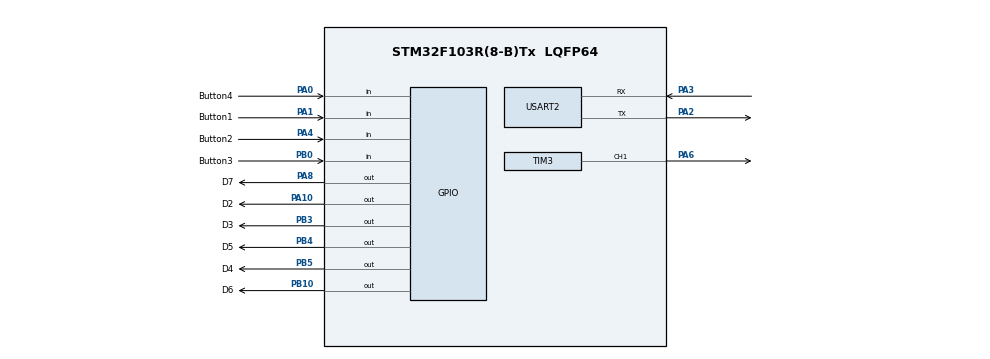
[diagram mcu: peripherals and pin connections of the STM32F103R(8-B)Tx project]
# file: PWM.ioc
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Mcu.Family=STM32F1
Mcu.Name=STM32F103R(8-B)Tx
Mcu.Package=LQFP64
NVIC.PriorityGroup=NVIC_PRIORITYGROUP_4
NVIC.TIM2_IRQn=true\:0\:0\:false\:false\:true\:true\:true\:true
NVIC.TIM3_IRQn=true\:0\:0\:false\:false\:true\:true\:true\:true
NVIC.USART2_IRQn=true\:0\:0\:false\:false\:true\:true\:true\:true
PA0-WKUP.GPIO_Label=Button4
PA0-WKUP.GPIO_PuPd=GPIO_PULLUP
PA0-WKUP.Signal=GPIO_Input
PA1.GPIO_Label=Button1
PA1.GPIO_PuPd=GPIO_PULLUP
PA1.Signal=GPIO_Input
PA10.GPIO_Label=D2
PA10.Signal=GPIO_Output
PA13.Mode=Serial_Wire
PA13.Signal=SYS_JTMS-SWDIO
PA14.Mode=Serial_Wire
PA14.Signal=SYS_JTCK-SWCLK
PA2.Mode=Asynchronous
PA2.Signal=USART2_TX
PA3.Mode=Asynchronous
PA3.Signal=USART2_RX
PA4.GPIO_Label=Button2
PA4.GPIO_PuPd=GPIO_PULLUP
PA4.Signal=GPIO_Input
PA6.Signal=S_TIM3_CH1
PA8.GPIO_Label=D7
PA8.Signal=GPIO_Output
PB0.GPIO_Label=Button3
PB0.GPIO_PuPd=GPIO_PULLUP
PB0.Signal=GPIO_Input
PB10.GPIO_Label=D6
PB10.Signal=GPIO_Output
PB3.GPIO_Label=D3
PB3.Signal=GPIO_Output
PB4.GPIO_Label=D5
PB4.Signal=GPIO_Output
PB5.GPIO_Label=D4
PB5.Signal=GPIO_Output
ProjectManager.HeapSize=0x200
ProjectManager.StackSize=0x400
ProjectManager.TargetToolchain=STM32CubeIDE
RCC.APB1Freq_Value=8000000
RCC.APB2Freq_Value=8000000
SH.S_TIM3_CH1.0=TIM3_CH1,PWM Generation1 CH1
TIM2.Period=9
TIM2.Prescaler=7999
TIM3.Channel-PWM\ Generation1\ CH1=TIM_CHANNEL_1
TIM3.Period=999
TIM3.Prescaler=63
USART2.VirtualMode=VM_ASYNC
VP_TIM2_VS_ClockSourceINT.Mode=Internal
VP_TIM3_VS_ClockSourceINT.Mode=Internal
board=custom

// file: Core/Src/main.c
/* USER CODE BEGIN Header */
/**
  ******************************************************************************
  * @file           : main.c
  * @brief          : Main program body
  ******************************************************************************
  * @attention
  *
  * <h2><center>&copy; Copyright (c) 2022 STMicroelectronics.
  * All rights reserved.</center></h2>
  *
  * This software component is licensed by ST under BSD 3-Clause license,
  * the "License"; You may not use this file except in compliance with the
  * License. You may obtain a copy of the License at:
  *                        opensource.org/licenses/BSD-3-Clause
  *
  ******************************************************************************
  */
/* USER CODE END Header */
#include "main.h"

/* USER CODE BEGIN Includes */
#include "button.h"
#include "input_processing.h"
#include "global.h"
#include "SoftwareTimer.h"
/* USER CODE END Includes */

TIM_HandleTypeDef htim2;
TIM_HandleTypeDef htim3;

UART_HandleTypeDef huart2;

void SystemClock_Config(void);
static void MX_GPIO_Init(void);
static void MX_TIM3_Init(void);
static void MX_TIM2_Init(void);
static void MX_USART2_UART_Init(void);

int main(void)
{

  /* MCU Configuration--------------------------------------------------------*/

  /* Reset of all peripherals, Initializes the Flash interface and the Systick. */
  HAL_Init();

  /* Configure the system clock */
  SystemClock_Config();

  /* Initialize all configured peripherals */
  MX_GPIO_Init();
  MX_TIM3_Init();
  MX_TIM2_Init();
  MX_USART2_UART_Init();

  /* Infinite loop */
  /* USER CODE BEGIN WHILE */
  HAL_TIM_Base_Start_IT(&htim2);
  HAL_TIM_PWM_Start(&htim3, TIM_CHANNEL_1);
  RED_DURATION=5;
  YELLOW_DURATION=2;
  GREEN_DURATION=3;
  while (1)
  {
	  fsm_for_input_processing(&huart2, &htim3);
	  __HAL_TIM_SetCompare(&htim3, TIM_CHANNEL_1, pwm);
    /* USER CODE END WHILE */

  }
}

void SystemClock_Config(void)
{
  RCC_OscInitTypeDef RCC_OscInitStruct = {0};
  RCC_ClkInitTypeDef RCC_ClkInitStruct = {0};

  /** Initializes the RCC Oscillators according to the specified parameters
  * in the RCC_OscInitTypeDef structure.
  */
  RCC_OscInitStruct.OscillatorType = RCC_OSCILLATORTYPE_HSI;
  RCC_OscInitStruct.HSIState = RCC_HSI_ON;
  RCC_OscInitStruct.HSICalibrationValue = RCC_HSICALIBRATION_DEFAULT;
  RCC_OscInitStruct.PLL.PLLState = RCC_PLL_NONE;
  if (HAL_RCC_OscConfig(&RCC_OscInitStruct) != HAL_OK)
  {
    Error_Handler();
  }

  /** Initializes the CPU, AHB and APB buses clocks
  */
  RCC_ClkInitStruct.ClockType = RCC_CLOCKTYPE_HCLK|RCC_CLOCKTYPE_SYSCLK
                              |RCC_CLOCKTYPE_PCLK1|RCC_CLOCKTYPE_PCLK2;
  RCC_ClkInitStruct.SYSCLKSource = RCC_SYSCLKSOURCE_HSI;
  RCC_ClkInitStruct.AHBCLKDivider = RCC_SYSCLK_DIV1;
  RCC_ClkInitStruct.APB1CLKDivider = RCC_HCLK_DIV1;
  RCC_ClkInitStruct.APB2CLKDivider = RCC_HCLK_DIV1;

  if (HAL_RCC_ClockConfig(&RCC_ClkInitStruct, FLASH_LATENCY_0) != HAL_OK)
  {
    Error_Handler();
  }
}

static void MX_TIM2_Init(void)
{

  TIM_ClockConfigTypeDef sClockSourceConfig = {0};
  TIM_MasterConfigTypeDef sMasterConfig = {0};

  htim2.Instance = TIM2;
  htim2.Init.Prescaler = 7999;
  htim2.Init.CounterMode = TIM_COUNTERMODE_UP;
  htim2.Init.Period = 9;
  htim2.Init.ClockDivision = TIM_CLOCKDIVISION_DIV1;
  htim2.Init.AutoReloadPreload = TIM_AUTORELOAD_PRELOAD_DISABLE;
  if (HAL_TIM_Base_Init(&htim2) != HAL_OK)
  {
    Error_Handler();
  }
  sClockSourceConfig.ClockSource = TIM_CLOCKSOURCE_INTERNAL;
  if (HAL_TIM_ConfigClockSource(&htim2, &sClockSourceConfig) != HAL_OK)
  {
    Error_Handler();
  }
  sMasterConfig.MasterOutputTrigger = TIM_TRGO_RESET;
  sMasterConfig.MasterSlaveMode = TIM_MASTERSLAVEMODE_DISABLE;
  if (HAL_TIMEx_MasterConfigSynchronization(&htim2, &sMasterConfig) != HAL_OK)
  {
    Error_Handler();
  }

}

static void MX_TIM3_Init(void)
{

  TIM_ClockConfigTypeDef sClockSourceConfig = {0};
  TIM_MasterConfigTypeDef sMasterConfig = {0};
  TIM_OC_InitTypeDef sConfigOC = {0};

  htim3.Instance = TIM3;
  htim3.Init.Prescaler = 63;
  htim3.Init.CounterMode = TIM_COUNTERMODE_UP;
  htim3.Init.Period = 999;
  htim3.Init.ClockDivision = TIM_CLOCKDIVISION_DIV1;
  htim3.Init.AutoReloadPreload = TIM_AUTORELOAD_PRELOAD_DISABLE;
  if (HAL_TIM_Base_Init(&htim3) != HAL_OK)
  {
    Error_Handler();
  }
  sClockSourceConfig.ClockSource = TIM_CLOCKSOURCE_INTERNAL;
  if (HAL_TIM_ConfigClockSource(&htim3, &sClockSourceConfig) != HAL_OK)
  {
    Error_Handler();
  }
  if (HAL_TIM_PWM_Init(&htim3) != HAL_OK)
  {
    Error_Handler();
  }
  sMasterConfig.MasterOutputTrigger = TIM_TRGO_RESET;
  sMasterConfig.MasterSlaveMode = TIM_MASTERSLAVEMODE_DISABLE;
  if (HAL_TIMEx_MasterConfigSynchronization(&htim3, &sMasterConfig) != HAL_OK)
  {
    Error_Handler();
  }
  sConfigOC.OCMode = TIM_OCMODE_PWM1;
  sConfigOC.Pulse = 0;
  sConfigOC.OCPolarity = TIM_OCPOLARITY_HIGH;
  sConfigOC.OCFastMode = TIM_OCFAST_DISABLE;
  if (HAL_TIM_PWM_ConfigChannel(&htim3, &sConfigOC, TIM_CHANNEL_1) != HAL_OK)
  {
    Error_Handler();
  }
  HAL_TIM_MspPostInit(&htim3);

}

static void MX_USART2_UART_Init(void)
{

  huart2.Instance = USART2;
  huart2.Init.BaudRate = 115200;
  huart2.Init.WordLength = UART_WORDLENGTH_8B;
  huart2.Init.StopBits = UART_STOPBITS_1;
  huart2.Init.Parity = UART_PARITY_NONE;
  huart2.Init.Mode = UART_MODE_TX_RX;
  huart2.Init.HwFlowCtl = UART_HWCONTROL_NONE;
  huart2.Init.OverSampling = UART_OVERSAMPLING_16;
  if (HAL_UART_Init(&huart2) != HAL_OK)
  {
    Error_Handler();
  }

}

static void MX_GPIO_Init(void)
{
  GPIO_InitTypeDef GPIO_InitStruct = {0};

  /* GPIO Ports Clock Enable */
  __HAL_RCC_GPIOA_CLK_ENABLE();
  __HAL_RCC_GPIOB_CLK_ENABLE();

  /*Configure GPIO pin Output Level */
  HAL_GPIO_WritePin(GPIOB, D6_Pin|D3_Pin|D5_Pin|D4_Pin, GPIO_PIN_RESET);

  /*Configure GPIO pin Output Level */
  HAL_GPIO_WritePin(GPIOA, D7_Pin|D2_Pin, GPIO_PIN_RESET);

  /*Configure GPIO pins : Button4_Pin Button1_Pin Button2_Pin */
  GPIO_InitStruct.Pin = Button4_Pin|Button1_Pin|Button2_Pin;
  GPIO_InitStruct.Mode = GPIO_MODE_INPUT;
  GPIO_InitStruct.Pull = GPIO_PULLUP;
  HAL_GPIO_Init(GPIOA, &GPIO_InitStruct);

  /*Configure GPIO pin : Button3_Pin */
  GPIO_InitStruct.Pin = Button3_Pin;
  GPIO_InitStruct.Mode = GPIO_MODE_INPUT;
  GPIO_InitStruct.Pull = GPIO_PULLUP;
  HAL_GPIO_Init(Button3_GPIO_Port, &GPIO_InitStruct);

  /*Configure GPIO pins : D6_Pin D3_Pin D5_Pin D4_Pin */
  GPIO_InitStruct.Pin = D6_Pin|D3_Pin|D5_Pin|D4_Pin;
  GPIO_InitStruct.Mode = GPIO_MODE_OUTPUT_PP;
  GPIO_InitStruct.Pull = GPIO_NOPULL;
  GPIO_InitStruct.Speed = GPIO_SPEED_FREQ_LOW;
  HAL_GPIO_Init(GPIOB, &GPIO_InitStruct);

  /*Configure GPIO pins : D7_Pin D2_Pin */
  GPIO_InitStruct.Pin = D7_Pin|D2_Pin;
  GPIO_InitStruct.Mode = GPIO_MODE_OUTPUT_PP;
  GPIO_InitStruct.Pull = GPIO_NOPULL;
  GPIO_InitStruct.Speed = GPIO_SPEED_FREQ_LOW;
  HAL_GPIO_Init(GPIOA, &GPIO_InitStruct);

}

/* USER CODE BEGIN 4 */
void HAL_TIM_PeriodElapsedCallback(TIM_HandleTypeDef*htim){
	TimerRun();
	button1_reading();
	button2_reading();
	button3_reading();
	button4_reading();
}
/* USER CODE END 4 */

void Error_Handler(void)
{
  __disable_irq();
  while (1)
  {
  }
}
